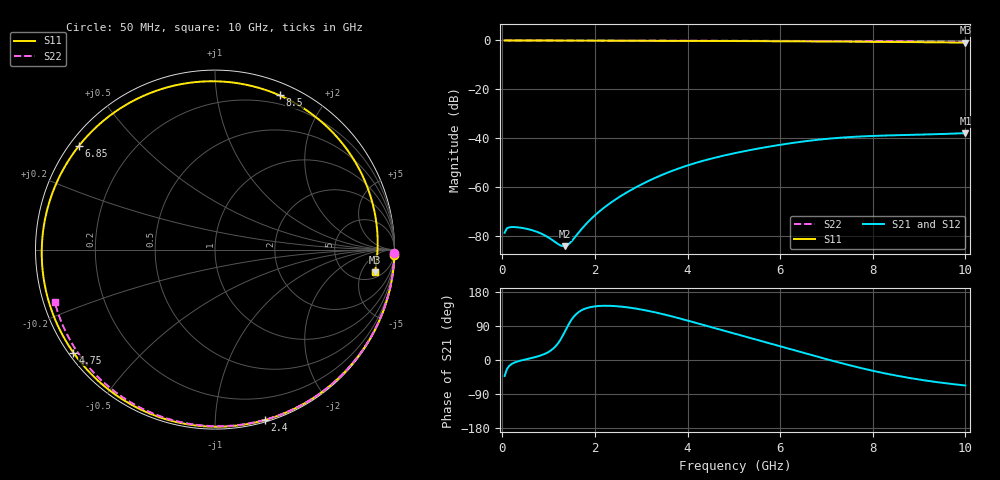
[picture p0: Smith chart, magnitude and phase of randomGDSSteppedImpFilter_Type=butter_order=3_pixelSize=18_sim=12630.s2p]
! freq	dB(S11)	phase(S11)	dB(S12)	phase(S12)
!  dB(S21)	phase(S21)	dB(S22)	phase(S22)
!S-par simulation data
#  GHz  S  DB  R 50
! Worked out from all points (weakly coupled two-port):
!   200 points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, 50 MHz to 10 GHz, reference 50 ohm
!   highest |S21| = -37.92 dB at 10 GHz (marker M1); lowest = -84.2 dB at 1.35 GHz (marker M2)
!   lowest |S11| = -0.9 dB at 10 GHz (marker M3), VSWR 18.89, Z = 338 - j451 ohm
!   |S11| at or under -10 dB: nowhere
!   |S22| runs from -0.5 to 0.0 dB; largest |S21 - S12| = 0
!   S11 on the Smith chart (normalised r, x): 50 MHz: 0, -73; 2.4 GHz: 0.01, -1.33; 4.75 GHz: 0.01, -0.33; 6.85 GHz: 0.03, +0.34; 8.5 GHz: 0.11, +1.50; 10 GHz: 7, -9
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0.05  -0.00 -1.6  -78.70 -42.4  -78.70 -42.4  -0.00 -0.9
0.1  -0.00 -3.2  -76.86 -23.8  -76.86 -23.8  -0.00 -1.9
0.25  -0.00 -7.9  -76.34 -7.5  -76.34 -7.5  -0.00 -4.7
0.95  -0.03 -29.8  -80.08 18.0  -80.08 18.0  -0.02 -17.7
1.35  -0.05 -42.1  -84.17 74.7  -84.17 74.7  -0.03 -25.1
1.6  -0.06 -49.7  -79.76 121.5  -79.76 121.5  -0.04 -29.6
1.75  -0.07 -54.2  -76.33 133.5  -76.33 133.5  -0.04 -32.3
2.4  -0.09 -73.8  -65.63 142.5  -65.63 142.5  -0.06 -44.0
3.4  -0.14 -103.4  -55.39 123.0  -55.39 123.0  -0.08 -61.3
4.05  -0.17 -122.7  -50.84 102.4  -50.84 102.4  -0.10 -72.1
4.75  -0.21 -144.0  -47.25 78.4  -47.25 78.4  -0.12 -83.5
5.05  -0.24 -153.4  -45.99 68.2  -45.99 68.2  -0.14 -88.2
5.9  -0.31 178.4  -43.00 39.4  -43.00 39.4  -0.18 -101.4
6.7  -0.40 148.8  -40.87 12.3  -40.87 12.3  -0.22 -113.4
6.85  -0.41 142.8  -40.56 7.2  -40.56 7.2  -0.23 -115.6
7.65  -0.51 108.3  -39.37 -18.4  -39.37 -18.4  -0.29 -127.4
8.35  -0.60 74.7  -38.85 -37.5  -38.85 -37.5  -0.35 -137.5
8.5  -0.61 67.2  -38.77 -41.0  -38.77 -41.0  -0.37 -139.7
8.85  -0.66 49.6  -38.61 -48.6  -38.61 -48.6  -0.40 -144.8
9.3  -0.73 26.7  -38.39 -56.9  -38.39 -56.9  -0.45 -151.4
9.65  -0.81 9.1  -38.18 -62.5  -38.18 -62.5  -0.50 -156.6
10  -0.92 -8.1  -37.92 -67.3  -37.92 -67.3  -0.54 -161.9
